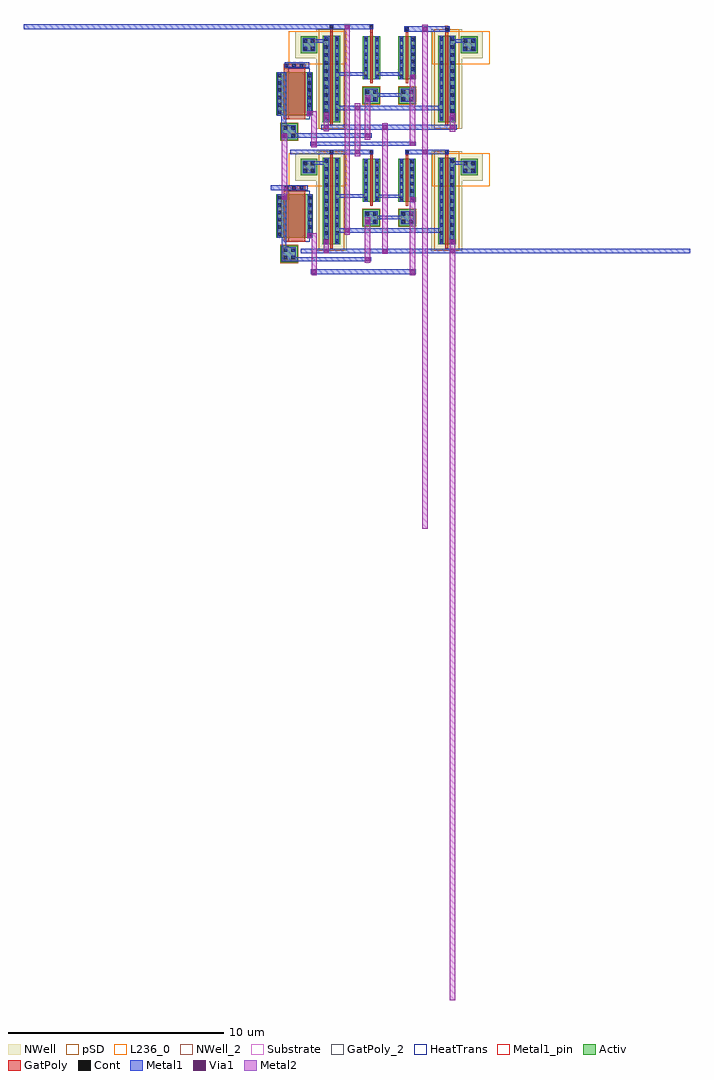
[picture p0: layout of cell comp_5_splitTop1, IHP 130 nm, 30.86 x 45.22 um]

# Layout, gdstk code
from math import pi, radians
import gdstk
lib = gdstk.Library(unit=1e-6, precision=1e-09)
def R(c, l, rs):  # rectangles x0, y0, x1, y1
    for r in rs: c.add(gdstk.rectangle(r[:2], r[2:], *l))
def A(c, l, x, y, w, h, nx, ny, dx, dy):  # array of equal rectangles
    R(c, l, [(x+i*dx, y+j*dy, x+i*dx+w, y+j*dy+h) for i in range(nx) for j in range(ny)])
def P(c, l, *ps):  # polygons
    for p in ps: c.add(gdstk.Polygon(p, *l))
Activ = (1, 0)
GatPoly = (5, 0)
GatPoly_2 = (5, 2)
Cont = (6, 0)
Metal1 = (8, 0)
Metal1_pin = (8, 2)
Metal2 = (10, 0)
pSD = (14, 0)
Via1 = (19, 0)
NWell = (31, 0)
NWell_2 = (31, 2)
Substrate = (40, 0)
HeatTrans = (51, 0)
L236_0 = (236, 0)

ptap = lib.new_cell('ptap')
R(ptap, Activ, [(0,0,0.78,0.78)])
R(ptap, Cont, [(0.14,0.14,0.3,0.3), (0.48,0.14,0.64,0.3), (0.14,0.48,0.3,0.64), (0.48,0.48,0.64,0.64)])
R(ptap, Metal1, [(0.09,0.09,0.69,0.69)])
R(ptap, Metal1_pin, [(0.09,0.09,0.69,0.69)])
R(ptap, pSD, [(-0.03,-0.03,0.81,0.81)])

comp_5_split1_1 = lib.new_cell('comp_5_split1$1')
R(comp_5_split1_1, Activ, [(-0.595,-4.037,0.215,-0.037), (4.752,-4.037,5.562,-0.037), (1.256,-4.011,2.066,-2.011), (2.901,-4.011,3.711,-2.011), (-1.62,-4.008,-0.84,-3.228), (5.807,-4.008,6.587,-3.228), (6.026,-2.344,7.706,-0.344), (1.256,-2.311,1.556,-2.011), (1.766,-2.311,2.066,-2.011), (2.901,-2.311,3.201,-2.011), (3.411,-2.311,3.711,-2.011), (6.026,-0.644,6.326,-0.344), (7.406,-0.644,7.706,-0.344), (-0.595,-0.337,-0.295,-0.037), (-0.085,-0.337,0.215,-0.037), (4.752,-0.337,5.052,-0.037), (5.262,-0.337,5.562,-0.037), (6.729,0.02,7.509,0.8)])
R(comp_5_split1_1, GatPoly, [(-0.255,-4.418,-0.125,0.143), (5.092,-4.418,5.222,0.143), (1.596,-4.4,1.726,-1.831), (3.241,-4.4,3.371,-1.831), (-0.255,-4.217,-0.125,0.143), (5.092,-4.217,5.222,0.143), (6.366,-2.748,7.366,-0.164)])
R(comp_5_split1_1, GatPoly_2, [(1.596,-4.191,1.726,-1.831), (3.241,-4.191,3.371,-1.831), (6.366,-2.524,7.366,-0.164)])
A(comp_5_split1_1, Cont, -0.525, -3.967, 0.16, 0.16, 1, 11, 0, 0.37)
A(comp_5_split1_1, Cont, -0.015, -3.967, 0.16, 0.16, 1, 11, 0, 0.37)
A(comp_5_split1_1, Cont, 4.822, -3.967, 0.16, 0.16, 1, 11, 0, 0.37)
A(comp_5_split1_1, Cont, 5.332, -3.967, 0.16, 0.16, 1, 11, 0, 0.37)
A(comp_5_split1_1, Cont, 1.326, -3.941, 0.16, 0.16, 1, 6, 0, 0.34)
A(comp_5_split1_1, Cont, 1.836, -3.941, 0.16, 0.16, 1, 6, 0, 0.34)
A(comp_5_split1_1, Cont, 2.971, -3.941, 0.16, 0.16, 1, 6, 0, 0.34)
A(comp_5_split1_1, Cont, 3.481, -3.941, 0.16, 0.16, 1, 6, 0, 0.34)
A(comp_5_split1_1, Cont, 6.471, -2.733, 0.16, 0.16, 3, 1, 0.34, 0)
A(comp_5_split1_1, Cont, 6.096, -2.274, 0.16, 0.16, 1, 6, 0, 0.34)
A(comp_5_split1_1, Cont, 7.476, -2.274, 0.16, 0.16, 1, 6, 0, 0.34)
R(comp_5_split1_1, Cont, [(-0.275,-4.4,-0.115,-4.24), (5.082,-4.4,5.242,-4.24), (1.581,-4.387,1.741,-4.227), (3.226,-4.387,3.386,-4.227), (-1.48,-3.868,-1.32,-3.708), (-1.14,-3.868,-0.98,-3.708), (5.947,-3.868,6.107,-3.708), (6.287,-3.868,6.447,-3.708), (-1.48,-3.528,-1.32,-3.368), (-1.14,-3.528,-0.98,-3.368), (5.947,-3.528,6.107,-3.368), (6.287,-3.528,6.447,-3.368), (6.869,0.16,7.029,0.32), (7.209,0.16,7.369,0.32), (6.869,0.5,7.029,0.66), (7.209,0.5,7.369,0.66)])
R(comp_5_split1_1, Metal1, [(-0.28,-4.411,1.741,-4.218), (3.226,-4.411,7.072,-4.218), (-0.015,-4.037,0.145,-0.037), (4.822,-4.037,4.982,-0.037), (1.326,-4.011,1.529,-1.995), (1.836,-4.011,1.996,-2.011), (2.971,-4.011,3.131,-2.011), (3.481,-4.011,3.641,-2.011), (6.255,-2.775,7.979,-2.548), (3.616,-2.353,4.847,-2.193), (6.058,-2.344,6.256,-0.344), (7.259,-2.344,7.453,0.088), (7.453,-2.344,7.67,-0.343), (1.883,-2.343,3.114,-2.183), (1.883,-1.364,3.114,-1.204), (-0.016,-0.784,4.897,-0.581), (7.13,0.088,7.453,0.75), (6.819,0.11,7.436,0.71), (-11.459,0.179,6.586,0.374), (3.316,0.557,7.436,0.75), (1.242,1.122,6.105,1.346)])
P(comp_5_split1_1, Metal1, [(-0.525,-4.037),(-0.525,-3.885),(-0.93,-3.885),(-0.93,-3.918),(-1.53,-3.918),(-1.53,-3.318),(-0.93,-3.318),(-0.93,-3.715),(-0.525,-3.715),(-0.525,-0.037),(-0.329,-0.037),(-0.329,-4.037)],
  [(5.289,-4.037),(5.289,-0.037),(5.492,-0.037),(5.492,-3.715),(5.897,-3.715),(5.897,-3.318),(6.497,-3.318),(6.497,-3.918),(5.897,-3.918),(5.897,-3.885),(5.492,-3.885),(5.492,-4.037)])
R(comp_5_split1_1, Metal1_pin, [(1.326,-4.011,1.529,-1.995), (1.836,-4.011,1.996,-2.011), (2.971,-4.011,3.131,-2.011), (3.481,-4.011,3.641,-2.011), (-1.53,-3.918,-0.93,-3.318), (5.897,-3.918,6.497,-3.318), (6.058,-2.344,6.256,-0.344), (7.459,-2.344,7.653,-0.344), (6.819,0.11,7.419,0.71)])
R(comp_5_split1_1, Metal2, [(1.276,-2.225,1.524,1.389), (3.366,-1.287,3.614,0.818), (5.839,-0.546,6.068,1.399), (5.84,-0.546,6.285,-0.318), (-0.579,-0.237,-0.327,34.975), (5.277,-0.237,5.525,0.389)])
R(comp_5_split1_1, pSD, [(-0.775,-4.337,0.395,0.263), (4.572,-4.337,5.742,0.263), (6.699,-0.01,7.539,0.83)])
R(comp_5_split1_1, Via1, [(1.33,-2.19,1.52,-2), (3.403,-1.168,3.593,-0.978), (6.061,-0.537,6.251,-0.347), (5.294,-0.24,5.484,-0.05), (-0.522,-0.238,-0.332,-0.048), (-0.548,0.181,-0.358,0.371), (5.308,0.182,5.498,0.372), (3.398,0.558,3.588,0.748), (1.307,1.139,1.497,1.329), (5.862,1.143,6.052,1.333)])
R(comp_5_split1_1, NWell, [(-0.905,-4.347,0.525,0.273), (4.442,-4.347,5.872,0.273), (-1.86,-4.248,-0.6,-2.988), (5.567,-4.248,6.827,-2.988)])
R(comp_5_split1_1, NWell_2, [(-1.62,-4.008,-0.84,-3.228)])
R(comp_5_split1_1, Substrate, [(-0.595,-0.337,-0.295,-0.037), (5.262,-0.337,5.562,-0.037)])
R(comp_5_split1_1, HeatTrans, [(-0.255,-4.217,-0.125,0.143), (5.092,-4.217,5.222,0.143), (1.596,-4.191,1.726,-1.831), (3.241,-4.191,3.371,-1.831), (6.166,-2.524,7.166,-0.164)])
R(comp_5_split1_1, L236_0, [(-2.174,-4.248,0.494,-2.728), (4.473,-4.248,7.141,-2.728)])
comp_5_split1_1.add(gdstk.Reference(ptap, (2.931,-0.881), x_reflection=True))
comp_5_split1_1.add(gdstk.Reference(ptap, (2.036,-0.881), rotation=pi))
comp_5_split1_1.add(gdstk.Label('pmos', (-0.19,-2.037), layer=51, texttype=0))
comp_5_split1_1.add(gdstk.Label('pmos', (5.157,-2.037), layer=51, texttype=0))
comp_5_split1_1.add(gdstk.Label('nmos', (1.661,-3.011), layer=51, texttype=0))
comp_5_split1_1.add(gdstk.Label('nmos', (3.306,-3.011), layer=51, texttype=0))
comp_5_split1_1.add(gdstk.Label('nmos', (6.666,-1.344), layer=51, texttype=0))
comp_5_split1_1.add(gdstk.Label('well', (-0.84,-3.228), layer=63, texttype=0))
comp_5_split1_1.add(gdstk.Label('well', (5.807,-3.228), layer=63, texttype=0))
comp_5_split1_1.add(gdstk.Label('pmos', (-0.19,-2.037), layer=63, texttype=0))
comp_5_split1_1.add(gdstk.Label('pmos', (5.157,-2.037), layer=63, texttype=0))
comp_5_split1_1.add(gdstk.Label('[@instanceName]', (-0.84,-3.488), layer=236, texttype=1))
comp_5_split1_1.add(gdstk.Label('[@instanceName]', (5.807,-3.488), layer=236, texttype=1))

comp_5_split1 = lib.new_cell('comp_5_split1')
R(comp_5_split1, Activ, [(-0.595,-4.037,0.215,-0.037), (4.752,-4.037,5.562,-0.037), (1.256,-4.011,2.066,-2.011), (2.901,-4.011,3.711,-2.011), (-1.62,-4.008,-0.84,-3.228), (5.807,-4.008,6.587,-3.228), (6.026,-2.344,7.706,-0.344), (1.256,-2.311,1.556,-2.011), (1.766,-2.311,2.066,-2.011), (2.901,-2.311,3.201,-2.011), (3.411,-2.311,3.711,-2.011), (6.026,-0.644,6.326,-0.344), (7.406,-0.644,7.706,-0.344), (-0.595,-0.337,-0.295,-0.037), (-0.085,-0.337,0.215,-0.037), (4.752,-0.337,5.052,-0.037), (5.262,-0.337,5.562,-0.037), (6.729,0.02,7.509,0.8)])
R(comp_5_split1, GatPoly, [(3.241,-4.582,3.371,-1.831), (5.092,-4.571,5.222,0.143), (-0.255,-4.493,-0.125,0.143), (1.596,-4.466,1.726,-1.831), (-0.255,-4.217,-0.125,0.143), (5.092,-4.217,5.222,0.143), (6.366,-2.748,7.366,-0.164)])
R(comp_5_split1, GatPoly_2, [(1.596,-4.191,1.726,-1.831), (3.241,-4.191,3.371,-1.831), (6.366,-2.524,7.366,-0.164)])
A(comp_5_split1, Cont, -0.525, -3.967, 0.16, 0.16, 1, 11, 0, 0.37)
A(comp_5_split1, Cont, -0.015, -3.967, 0.16, 0.16, 1, 11, 0, 0.37)
A(comp_5_split1, Cont, 4.822, -3.967, 0.16, 0.16, 1, 11, 0, 0.37)
A(comp_5_split1, Cont, 5.332, -3.967, 0.16, 0.16, 1, 11, 0, 0.37)
A(comp_5_split1, Cont, 1.326, -3.941, 0.16, 0.16, 1, 6, 0, 0.34)
A(comp_5_split1, Cont, 1.836, -3.941, 0.16, 0.16, 1, 6, 0, 0.34)
A(comp_5_split1, Cont, 2.971, -3.941, 0.16, 0.16, 1, 6, 0, 0.34)
A(comp_5_split1, Cont, 3.481, -3.941, 0.16, 0.16, 1, 6, 0, 0.34)
A(comp_5_split1, Cont, 6.471, -2.733, 0.16, 0.16, 3, 1, 0.34, 0)
A(comp_5_split1, Cont, 6.096, -2.274, 0.16, 0.16, 1, 6, 0, 0.34)
A(comp_5_split1, Cont, 7.476, -2.274, 0.16, 0.16, 1, 6, 0, 0.34)
R(comp_5_split1, Cont, [(5.082,-4.534,5.242,-4.374), (3.226,-4.529,3.386,-4.369), (1.581,-4.42,1.741,-4.26), (-0.275,-4.419,-0.115,-4.259), (-1.48,-3.868,-1.32,-3.708), (-1.14,-3.868,-0.98,-3.708), (5.947,-3.868,6.107,-3.708), (6.287,-3.868,6.447,-3.708), (-1.48,-3.528,-1.32,-3.368), (-1.14,-3.528,-0.98,-3.368), (5.947,-3.528,6.107,-3.368), (6.287,-3.528,6.447,-3.368), (6.869,0.16,7.029,0.32), (7.209,0.16,7.369,0.32), (6.869,0.5,7.029,0.66), (7.209,0.5,7.369,0.66)])
R(comp_5_split1, Metal1, [(3.226,-4.57,19.406,-4.332), (-0.315,-4.476,1.781,-4.218), (-0.015,-4.037,0.145,-0.098), (4.822,-4.037,4.982,-0.099), (1.282,-4.011,1.486,-2.011), (1.836,-4.011,1.996,-2.011), (2.971,-4.011,3.131,-2.011), (3.481,-4.011,3.641,-2.011), (6.18,-2.805,6.412,-2.559), (6.412,-2.805,7.328,-2.559), (3.616,-2.353,4.847,-2.193), (6.07,-2.344,6.27,-0.328), (7.252,-2.344,7.475,0.088), (7.475,-2.344,7.66,-0.367), (1.883,-2.343,3.114,-2.183), (1.883,-1.364,3.114,-1.204), (-0.016,-0.79,4.897,-0.586), (7.475,-0.367,7.66,-0.322), (5.263,-0.116,5.507,-0.107), (-0.656,0.085,5.621,0.308), (7.135,0.088,7.475,0.71), (6.819,0.11,7.436,0.71), (3.298,0.489,7.436,0.684), (1.263,0.866,6.14,1.062)])
P(comp_5_split1, Metal1, [(-0.525,-4.037),(-0.525,-3.885),(-0.93,-3.885),(-0.93,-3.918),(-1.53,-3.918),(-1.53,-3.318),(-0.93,-3.318),(-0.93,-3.715),(-0.545,-3.715),(-0.545,-0.104),(-0.317,-0.104),(-0.317,-4.037)],
  [(5.263,-4.037),(5.263,-0.116),(5.507,-0.116),(5.507,-3.715),(5.897,-3.715),(5.897,-3.318),(6.497,-3.318),(6.497,-3.918),(5.897,-3.918),(5.897,-3.885),(5.492,-3.885),(5.492,-4.037)])
R(comp_5_split1, Metal1_pin, [(1.326,-4.011,1.486,-2.011), (1.836,-4.011,1.996,-2.011), (2.971,-4.011,3.131,-2.011), (3.481,-4.011,3.641,-2.011), (-1.53,-3.918,-0.93,-3.318), (5.897,-3.918,6.497,-3.318), (6.096,-2.344,6.256,-0.344), (7.476,-2.344,7.636,-0.344), (6.819,0.11,7.419,0.71)])
R(comp_5_split1, Metal2, [(1.276,-2.225,1.524,1.069), (3.366,-1.287,3.614,0.783), (5.839,-0.546,6.087,1.118), (5.839,-0.546,6.29,-0.317), (5.277,-0.476,5.525,0.376), (-0.579,-0.448,-0.325,0.411)])
R(comp_5_split1, pSD, [(-0.775,-4.337,0.395,0.263), (4.572,-4.337,5.742,0.263), (6.699,-0.01,7.539,0.83)])
R(comp_5_split1, Via1, [(1.287,-2.208,1.477,-2.018), (3.403,-1.168,3.593,-0.978), (6.076,-0.527,6.266,-0.337), (5.292,-0.373,5.482,-0.183), (-0.524,-0.346,-0.334,-0.156), (-0.548,0.102,-0.358,0.292), (5.308,0.102,5.498,0.292), (3.398,0.492,3.588,0.682), (5.87,0.87,6.06,1.06), (1.307,0.876,1.497,1.066)])
R(comp_5_split1, NWell, [(-0.905,-4.347,0.525,0.273), (4.442,-4.347,5.872,0.273), (-1.86,-4.248,-0.6,-2.988), (5.567,-4.248,6.827,-2.988)])
R(comp_5_split1, NWell_2, [(-1.62,-4.008,-0.84,-3.228)])
R(comp_5_split1, Substrate, [(-0.595,-0.337,-0.295,-0.037), (5.262,-0.337,5.562,-0.037)])
R(comp_5_split1, HeatTrans, [(-0.255,-4.217,-0.125,0.143), (5.092,-4.217,5.222,0.143), (1.596,-4.191,1.726,-1.831), (3.241,-4.191,3.371,-1.831), (6.166,-2.524,7.166,-0.164)])
R(comp_5_split1, L236_0, [(-2.174,-4.248,0.494,-2.728), (4.473,-4.248,7.141,-2.728)])
comp_5_split1.add(gdstk.Reference(ptap, (2.931,-0.881), x_reflection=True))
comp_5_split1.add(gdstk.Reference(ptap, (2.036,-0.881), rotation=pi))
comp_5_split1.add(gdstk.Label('vdda', (-10.511,6.699), layer=8, texttype=0))
comp_5_split1.add(gdstk.Label('pmos', (-0.19,-2.037), layer=51, texttype=0))
comp_5_split1.add(gdstk.Label('pmos', (5.157,-2.037), layer=51, texttype=0))
comp_5_split1.add(gdstk.Label('nmos', (1.661,-3.011), layer=51, texttype=0))
comp_5_split1.add(gdstk.Label('nmos', (3.306,-3.011), layer=51, texttype=0))
comp_5_split1.add(gdstk.Label('nmos', (6.666,-1.344), layer=51, texttype=0))
comp_5_split1.add(gdstk.Label('well', (-0.84,-3.228), layer=63, texttype=0))
comp_5_split1.add(gdstk.Label('well', (5.807,-3.228), layer=63, texttype=0))
comp_5_split1.add(gdstk.Label('pmos', (-0.19,-2.037), layer=63, texttype=0))
comp_5_split1.add(gdstk.Label('pmos', (5.157,-2.037), layer=63, texttype=0))
comp_5_split1.add(gdstk.Label('[@instanceName]', (-0.84,-3.488), layer=236, texttype=1))
comp_5_split1.add(gdstk.Label('[@instanceName]', (5.807,-3.488), layer=236, texttype=1))

comp_5_splittop1 = lib.new_cell('comp_5_splitTop1')
R(comp_5_splittop1, Metal2, [(-0.809,-18.663,-0.561,4.683), (-2.671,-5.916,-2.423,0.115), (-4.416,-5.048,-4.168,4.686), (-7.319,-3.426,-7.071,-0.362), (-3.94,-1.411,-3.692,1.055)])
R(comp_5_splittop1, Via1, [(-2.644,-5.898,-2.454,-5.708), (-4.39,-4.938,-4.2,-4.748), (-7.314,-3.42,-7.124,-3.23), (-3.914,-1.306,-3.724,-1.116), (-0.782,-1.305,-0.592,-1.115), (-7.271,-0.539,-7.081,-0.349), (-2.65,-0.155,-2.46,0.035), (-3.919,0.73,-3.729,0.92), (-0.788,4.386,-0.598,4.576), (-4.395,4.49,-4.205,4.68)])
comp_5_splittop1.add(gdstk.Reference(comp_5_split1_1, (0.136,-5.525), rotation=pi))
comp_5_splittop1.add(gdstk.Reference(comp_5_split1, (0.136,0.136), rotation=pi))

lib.write_gds('comp_5_splitTop1.gds')
